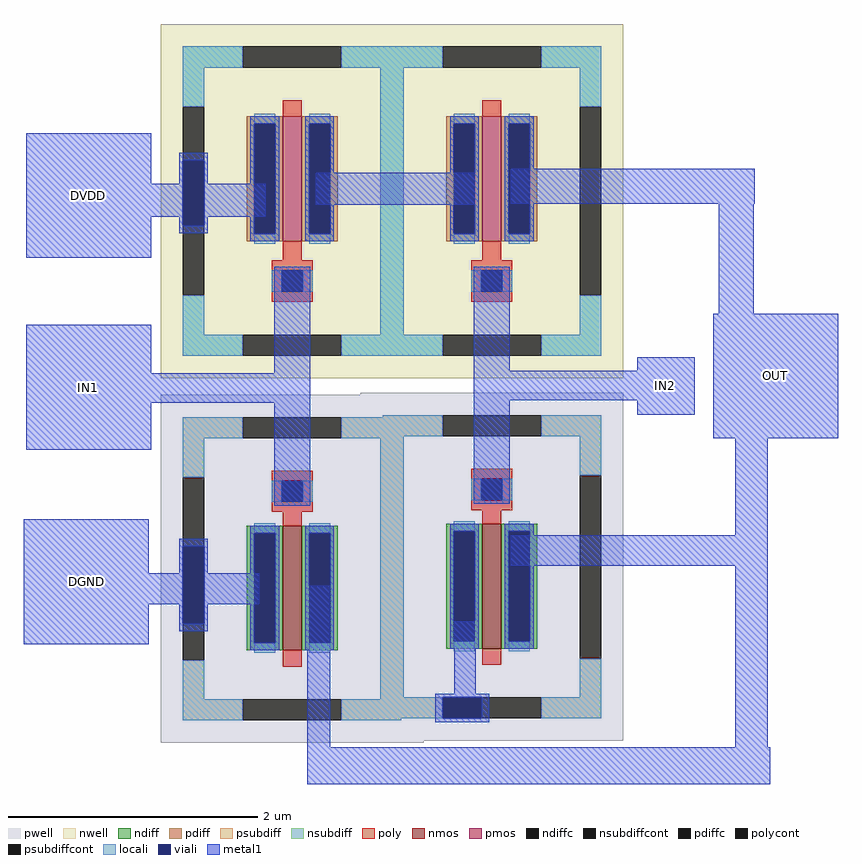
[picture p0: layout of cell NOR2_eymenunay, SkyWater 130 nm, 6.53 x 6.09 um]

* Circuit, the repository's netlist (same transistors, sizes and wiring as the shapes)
** sch_path: /home/ubuntu/Desktop/examples/xschem/VLSI-II/xschem/NOR2_eymenunay.sch
**.subckt NOR2_eymenunay IN1 IN2 DVDD DGND OUT
*.ipin IN1
*.ipin IN2
*.opin OUT
*.iopin DVDD
*.iopin DGND
XM1 OUT IN1 DGND DGND sky130_fd_pr__nfet_01v8 L=0.15 W=1 nf=1 ad='int((nf+1)/2) * W/nf * 0.29' as='int((nf+2)/2) * W/nf * 0.29'
+ pd='2*int((nf+1)/2) * (W/nf + 0.29)' ps='2*int((nf+2)/2) * (W/nf + 0.29)' nrd='0.29 / W' nrs='0.29 / W'
+ sa=0 sb=0 sd=0 mult=1 m=1
XM2 OUT IN2 DGND DGND sky130_fd_pr__nfet_01v8 L=0.15 W=1 nf=1 ad='int((nf+1)/2) * W/nf * 0.29' as='int((nf+2)/2) * W/nf * 0.29'
+ pd='2*int((nf+1)/2) * (W/nf + 0.29)' ps='2*int((nf+2)/2) * (W/nf + 0.29)' nrd='0.29 / W' nrs='0.29 / W'
+ sa=0 sb=0 sd=0 mult=1 m=1
XM3 net1 IN1 DVDD DVDD sky130_fd_pr__pfet_01v8 L=0.15 W=1 nf=1 ad='int((nf+1)/2) * W/nf * 0.29' as='int((nf+2)/2) * W/nf * 0.29'
+ pd='2*int((nf+1)/2) * (W/nf + 0.29)' ps='2*int((nf+2)/2) * (W/nf + 0.29)' nrd='0.29 / W' nrs='0.29 / W'
+ sa=0 sb=0 sd=0 mult=1 m=1
XM4 OUT IN2 net1 DVDD sky130_fd_pr__pfet_01v8 L=0.15 W=1 nf=1 ad='int((nf+1)/2) * W/nf * 0.29' as='int((nf+2)/2) * W/nf * 0.29'
+ pd='2*int((nf+1)/2) * (W/nf + 0.29)' ps='2*int((nf+2)/2) * (W/nf + 0.29)' nrd='0.29 / W' nrs='0.29 / W'
+ sa=0 sb=0 sd=0 mult=1 m=1
**.ends
.end

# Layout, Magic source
magic
tech sky130B
magscale 1 2
<< viali >>
rect 486 -83 520 22
rect 486 -721 520 -597
rect 902 -873 965 -839
<< metal1 >>
rect 235 -16 435 65
rect 480 22 526 34
rect 480 -16 486 22
rect 235 -69 486 -16
rect 235 -135 435 -69
rect 480 -83 486 -69
rect 520 -16 526 22
rect 520 -69 619 -16
rect 699 -50 955 2
rect 1011 -48 1402 8
rect 520 -83 526 -69
rect 480 -95 526 -83
rect 235 -320 435 -242
rect 632 -320 690 -149
rect 235 -367 690 -320
rect 235 -442 435 -367
rect 632 -532 690 -367
rect 952 -316 1010 -149
rect 1345 -224 1401 -48
rect 1214 -316 1306 -294
rect 952 -363 1306 -316
rect 952 -529 1010 -363
rect 1214 -386 1306 -363
rect 1336 -424 1536 -224
rect 231 -640 431 -554
rect 1371 -579 1423 -424
rect 480 -597 526 -585
rect 480 -640 486 -597
rect 231 -690 486 -640
rect 231 -754 431 -690
rect 480 -721 486 -690
rect 520 -640 526 -597
rect 1011 -628 1423 -579
rect 520 -690 608 -640
rect 520 -721 526 -690
rect 480 -733 526 -721
rect 685 -919 722 -660
rect 921 -833 955 -717
rect 890 -839 977 -833
rect 890 -873 902 -839
rect 965 -873 977 -839
rect 890 -879 977 -873
rect 1371 -919 1423 -628
rect 685 -978 1427 -919
use sky130_fd_pr__nfet_01v8_8XY39T  XM1
transform 1 0 661 0 1 -633
box -211 -279 211 279
use sky130_fd_pr__nfet_01v8_8XY3SE  XM2
transform 1 0 981 0 1 -630
box -211 -279 211 279
use sky130_fd_pr__pfet_01v8_MNYNRG  XM3
transform 1 0 661 0 1 -44
box -211 -284 211 284
use sky130_fd_pr__pfet_01v8_LG57AL  XM4
transform 1 0 981 0 1 -44
box -211 -284 211 284
<< labels >>
flabel metal1 1214 -386 1306 -294 1 FreeMono 160 0 0 0 IN2
port 5 n
flabel metal1 1336 -424 1536 -224 0 FreeSans 256 0 0 0 OUT
port 4 nsew
flabel metal1 235 -442 435 -242 0 FreeSans 256 0 0 0 IN1
port 0 nsew
flabel metal1 231 -754 431 -554 0 FreeSans 256 0 0 0 DGND
port 3 nsew
flabel metal1 235 -135 435 65 0 FreeSans 256 0 0 0 DVDD
port 2 nsew
<< end >>

# cell sky130_fd_pr__nfet_01v8_8XY39T: kit device sky130_fd_pr__nfet_01v8, w 1.0 l 0.15 m 1 nf 1 diffcov 100 polycov 100 guard 1 glc 1 grc 0 gtc 1 gbc 1 tbcov 100 rlcov 100 topc 1 botc 0 poverlap 0 doverlap 1 lmin 0.15 wmin 0.42 compatible {sky130_fd_pr__nfet_01v8 sky130_fd_pr__nfet_01v8_lvt sky130_fd_bs_flash__special_sonosfet_star sky130_fd_pr__nfet_g5v0d10v5 sky130_fd_pr__nfet_05v0_nvt sky130_fd_pr__nfet_03v3_nvt} full_metal 1 viasrc 100 viadrn 100 viagate 100 viagb 0 viagr 0 viagl 0 viagt 0

# cell sky130_fd_pr__nfet_01v8_8XY3SE: kit device sky130_fd_pr__nfet_01v8, w 1.0 l 0.15 m 1 nf 1 diffcov 100 polycov 100 guard 1 glc 0 grc 1 gtc 1 gbc 1 tbcov 100 rlcov 100 topc 1 botc 0 poverlap 0 doverlap 1 lmin 0.15 wmin 0.42 compatible {sky130_fd_pr__nfet_01v8 sky130_fd_pr__nfet_01v8_lvt sky130_fd_bs_flash__special_sonosfet_star sky130_fd_pr__nfet_g5v0d10v5 sky130_fd_pr__nfet_05v0_nvt sky130_fd_pr__nfet_03v3_nvt} full_metal 1 viasrc 100 viadrn 100 viagate 100 viagb 0 viagr 0 viagl 0 viagt 0

# cell sky130_fd_pr__pfet_01v8_MNYNRG: kit device sky130_fd_pr__pfet_01v8, w 1.0 l 0.15 m 1 nf 1 diffcov 100 polycov 100 guard 1 glc 1 grc 0 gtc 1 gbc 1 tbcov 100 rlcov 100 topc 0 botc 1 poverlap 0 doverlap 1 lmin 0.15 wmin 0.42 compatible {sky130_fd_pr__pfet_01v8 sky130_fd_pr__pfet_01v8_lvt sky130_fd_pr__pfet_01v8_hvt sky130_fd_pr__pfet_g5v0d10v5} full_metal 1 viasrc 100 viadrn 100 viagate 100 viagb 0 viagr 0 viagl 0 viagt 0

# cell sky130_fd_pr__pfet_01v8_LG57AL: kit device sky130_fd_pr__pfet_01v8, w 1.0 l 0.15 m 1 nf 1 diffcov 100 polycov 100 guard 1 glc 0 grc 1 gtc 1 gbc 1 tbcov 100 rlcov 100 topc 0 botc 1 poverlap 0 doverlap 1 lmin 0.15 wmin 0.42 compatible {sky130_fd_pr__pfet_01v8 sky130_fd_pr__pfet_01v8_lvt sky130_fd_pr__pfet_01v8_hvt sky130_fd_pr__pfet_g5v0d10v5} full_metal 1 viasrc 100 viadrn 100 viagate 100 viagb 0 viagr 0 viagl 0 viagt 0
